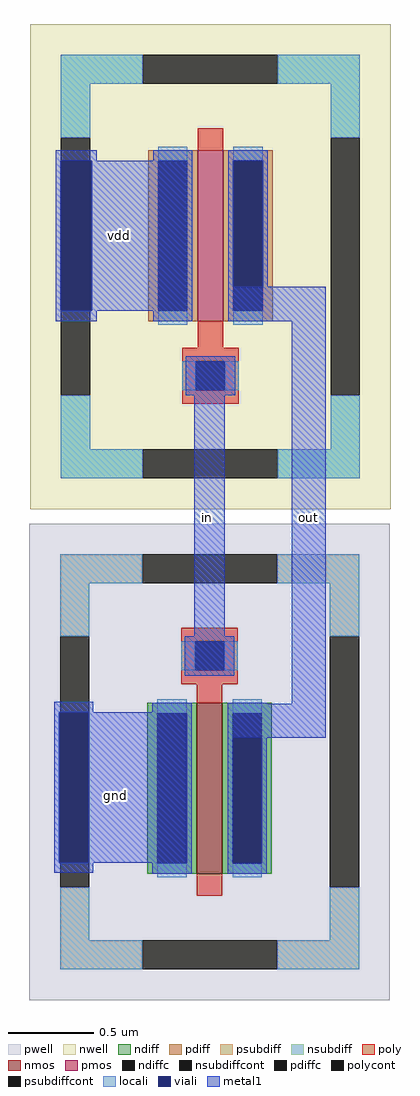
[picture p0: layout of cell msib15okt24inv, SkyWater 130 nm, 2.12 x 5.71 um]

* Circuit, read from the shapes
.subckt msib15okt24inv vdd gnd out in
XM1 out in gnd gnd sky130_fd_pr__nfet_01v8 w=1 l=0.15
XM2 out in vdd vdd sky130_fd_pr__pfet_01v8 w=1 l=0.15
.ends

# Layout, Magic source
magic
tech sky130A
magscale 1 2
<< viali >>
rect -18 814 18 990
rect -20 168 14 344
<< metal1 >>
rect -24 990 24 1002
rect -24 814 -18 990
rect 18 814 130 990
rect -24 802 24 814
rect 178 802 292 842
rect 138 394 174 756
rect -26 344 20 356
rect 252 354 292 802
rect -26 168 -20 344
rect 14 168 128 344
rect 178 314 292 354
rect -26 156 20 168
use sky130_fd_pr__nfet_01v8_64Z3AY  XM1
transform 1 0 156 0 1 286
box -211 -279 211 279
use sky130_fd_pr__pfet_01v8_LGS3BL  XM2
transform 1 0 157 0 1 866
box -211 -284 211 284
<< labels >>
flabel metal1 50 902 50 902 0 FreeSans 160 0 0 0 vdd
port 2 nsew
flabel metal1 46 246 46 246 0 FreeSans 160 0 0 0 gnd
port 3 nsew
flabel metal1 272 572 272 572 0 FreeSans 160 0 0 0 out
port 5 nsew
flabel metal1 154 572 154 572 0 FreeSans 160 0 0 0 in
port 6 nsew
<< end >>

# cell sky130_fd_pr__nfet_01v8_64Z3AY: kit device sky130_fd_pr__nfet_01v8, w 1.0 l 0.15 m 1 nf 1 diffcov 100 polycov 100 guard 1 glc 1 grc 1 gtc 1 gbc 1 tbcov 100 rlcov 100 topc 1 botc 0 poverlap 0 doverlap 1 lmin 0.15 wmin 0.42 compatible {sky130_fd_pr__nfet_01v8 sky130_fd_pr__nfet_01v8_lvt sky130_fd_bs_flash__special_sonosfet_star sky130_fd_pr__nfet_g5v0d10v5 sky130_fd_pr__nfet_05v0_nvt sky130_fd_pr__nfet_03v3_nvt} full_metal 1 viasrc 100 viadrn 100 viagate 100 viagb 0 viagr 0 viagl 0 viagt 0

# cell sky130_fd_pr__pfet_01v8_LGS3BL: kit device sky130_fd_pr__pfet_01v8, w 1.0 l 0.15 m 1 nf 1 diffcov 100 polycov 100 guard 1 glc 1 grc 1 gtc 1 gbc 1 tbcov 100 rlcov 100 topc 0 botc 1 poverlap 0 doverlap 1 lmin 0.15 wmin 0.42 compatible {sky130_fd_pr__pfet_01v8 sky130_fd_pr__pfet_01v8_lvt sky130_fd_pr__pfet_01v8_hvt sky130_fd_pr__pfet_g5v0d10v5} full_metal 1 viasrc 100 viadrn 100 viagate 100 viagb 0 viagr 0 viagl 0 viagt 0
